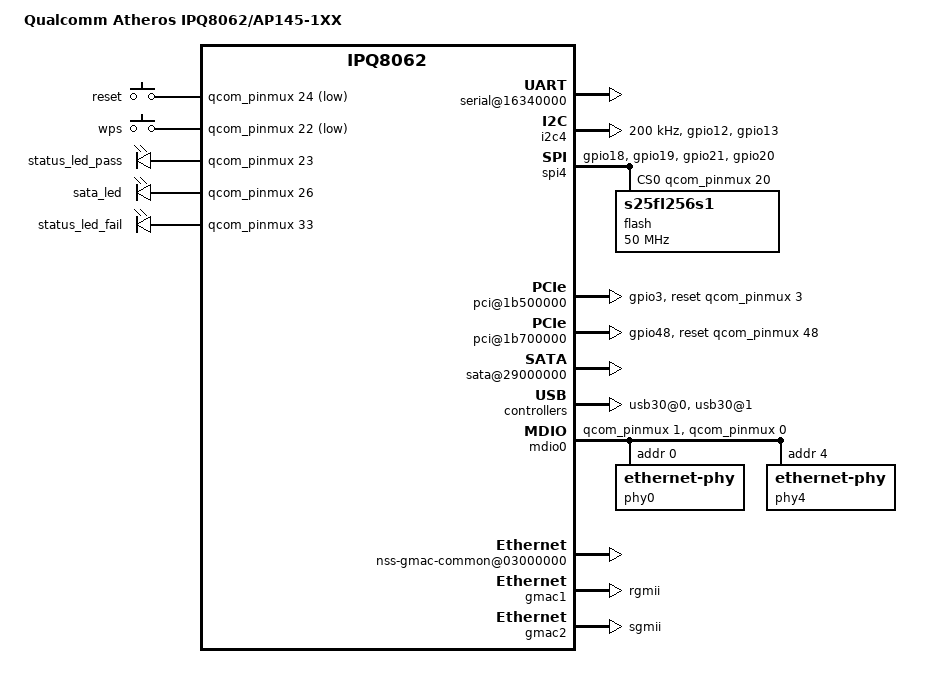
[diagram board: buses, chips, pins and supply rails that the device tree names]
/* Copyright (c) 2015, The Linux Foundation. All rights reserved.
 *
 * Permission to use, copy, modify, and/or distribute this software for any
 * purpose with or without fee is hereby granted, provided that the above
 * copyright notice and this permission notice appear in all copies.
 *
 * THE SOFTWARE IS PROVIDED "AS IS" AND THE AUTHOR DISCLAIMS ALL WARRANTIES
 * WITH REGARD TO THIS SOFTWARE INCLUDING ALL IMPLIED WARRANTIES OF
 * MERCHANTABILITY AND FITNESS. IN NO EVENT SHALL THE AUTHOR BE LIABLE FOR
 * ANY SPECIAL, DIRECT, INDIRECT, OR CONSEQUENTIAL DAMAGES OR ANY DAMAGES
 * WHATSOEVER RESULTING FROM LOSS OF USE, DATA OR PROFITS, WHETHER IN AN
 * ACTION OF CONTRACT, NEGLIGENCE OR OTHER TORTIOUS ACTION, ARISING OUT OF
 * OR IN CONNECTION WITH THE USE OR PERFORMANCE OF THIS SOFTWARE.
 *
 */

#include <dt-bindings/interrupt-controller/arm-gic.h>
#include <dt-bindings/interrupt-controller/irq.h>
#include <dt-bindings/input/input.h>
#include <dt-bindings/gpio/gpio.h>

/ {
	model = "Qualcomm Atheros IPQ8062/AP145-1XX";
	compatible = "qcom,ipq8062-ap145_1xx", "qcom,ipq8062";

	reserved-memory {
		#address-cells = <1>;
		#size-cells = <1>;
		ranges;
		rsvd@41200000 {
			reg = <0x41200000 0x300000>;
			no-map;
		};
	};
	cpus {
		#address-cells = <1>;
		#size-cells = <0>;

		cpu@0 {
			compatible = "qcom,krait";
			enable-method = "qcom,kpss-acc-v1";
			device_type = "cpu";

			operating-points-0-0 = <
				/* kHz      uV */
				1000000 1100000
				800000  1050000
				600000  1000000
				384000  950000
			>;
			operating-points-0-1 = <
				/* kHz      uV */
				1000000 1050000
				800000  1000000
				600000  950000
				384000  900000
			>;
			operating-points-0-2 = <
				/* kHz      uV */
				1000000 1000000
				800000  950000
				600000  900000
				384000  850000
			>;
			operating-points-0-3 = <
				/* kHz      uV */
				1000000  950000
				800000   900000
				600000   850000
				384000   800000
			>;

			clock-latency = <100000>;
			voltage-tolerance = <5>;

			cooling-min-state = <0>;
			cooling-max-state = <10>;
			#cooling-cells = <2>;
		};

		cpu@1 {
			compatible = "qcom,krait";
			enable-method = "qcom,kpss-acc-v1";
			device_type = "cpu";
			reg = <1>;
			qcom,acc = <&acc1>;
			qcom,saw = <&saw1>;
			core-supply = <&smb208_s2b>;
			clocks = <&kraitcc 1>;
			clock-names = "cpu";

			operating-points-0-0 = <
				/* kHz      uV */
				1000000 1100000
				800000  1050000
				600000  1000000
				384000  950000
			>;
			operating-points-0-1 = <
				/* kHz      uV */
				1000000 1050000
				800000  1000000
				600000  950000
				384000  900000
			>;
			operating-points-0-2 = <
				/* kHz      uV */
				1000000 1000000
				800000  950000
				600000  900000
				384000  850000
			>;
			operating-points-0-3 = <
				/* kHz      uV */
				1000000  950000
				800000   900000
				600000   850000
				384000   800000
			>;

			clock-latency = <100000>;

			cooling-min-state = <0>;
			cooling-max-state = <10>;
			#cooling-cells = <2>;
		};

		L2: l2-cache {
			compatible = "cache";
			cache-level = <2>;
			clocks = <&kraitcc 4>;
			clock-names = "cache";
			vdd_dig-supply = <&smb208_s1a>;
			cache-points-kHz = <
				/* kHz    uV    CPU kHz */
				1000000 1100000  600000
				384000  1100000  384000
			>;
		};

	};

	aliases {
                mdio-gpio0 = &mdio0;
                /*
                 * U-Boot searches for these entries and patches
                 * 'local-mac-address'
                 */
                ethernet0 = &gmac1;
                ethernet1 = &gmac2;
        };

	soc {

		pinmux@800000 {
			pinctrl-0 = <&rgmii2_pins_default>;
			pinctrl-names = "default";

			sdcc1_pins: sdcc1_pinmux {
				mux {
					pins = "gpio38", "gpio39", "gpio40",
					"gpio41", "gpio42", "gpio43",
					"gpio44", "gpio45", "gpio46",
					"gpio47";
					function = "sdc1";
				};
				cmd {
					pins = "gpio45";
					drive-strength = <10>;
					bias-pull-up;
				};
				data {
					pins = "gpio38", "gpio39", "gpio40",
					"gpio41", "gpio43", "gpio44",
					"gpio46", "gpio47";
					drive-strength = <10>;
					bias-pull-up;
				};
				clk {
					pins = "gpio42";
					drive-strength = <16>;
					bias-pull-down;
				};
			};

			i2c4_pins: i2c4_pinmux {
				pins = "gpio12", "gpio13";
				function = "gsbi4";
				bias-disable;
			};

			pcie1_pins: pcie1_pinmux {
				mux {
					pins = "gpio3";
					drive-strength = <2>;
					bias-disable;
				};
			};

			pcie2_pins: pcie2_pinmux {
				mux {
					pins = "gpio48";
					drive-strength = <2>;
					bias-disable;
				};
			};

			nss_spi_pins: nss_spi_pins {
				mux {
					pins = "gpio14", "gpio15", "gpio16", "gpio17",
						"gpio55", "gpio56", "gpio57", "gpio58";
					function = "nss_spi";
					drive-strengh = <10>;
				};
				data {
					pins = "gpio14", "gpio15", "gpio55", "gpio56";
					bias-none;
				};
				cs {
					pins = "gpio16", "gpio17", "gpio57", "gpio58";
					bias-pull-up;
				};
                        };

			spi_pins: spi_pins {
				mux {
					pins = "gpio18", "gpio19", "gpio21";
					function = "gsbi5";
					drive-strength = <10>;
					bias-none;
				};
				cs {
					pins = "gpio20";
					drive-strength = <12>;
				};
			};
			nand_pins: nand_pins {
				mux {
					pins = "gpio34", "gpio35", "gpio36",
						"gpio37", "gpio38", "gpio39",
						"gpio40", "gpio41", "gpio42",
						"gpio43", "gpio44", "gpio45",
						"gpio46", "gpio47";
					function = "nand";
					drive-strength = <10>;
					bias-disable;
				};
				pullups {
					pins = "gpio39";
					bias-pull-up;
				};
				hold {
					pins = "gpio40", "gpio41", "gpio42",
						"gpio43", "gpio44", "gpio45",
						"gpio46", "gpio47";
					bias-bus-hold;
				};
			};

			rgmii2_pins_default: rgmii2_pins_default {
				mux {
					pins = "gpio27", "gpio28", "gpio29", "gpio30", "gpio31", "gpio32",
					       "gpio51", "gpio52", "gpio59", "gpio60", "gpio61", "gpio62" ;
					function = "rgmii2";
					drive-strength = <8>;
					bias-disable;
				};
			};

			leds_pins: leds_pins {
				mux {
					pins = "gpio23", "gpio26", "gpio33";
					function = "gpio";
					drive-strength = <2>;
					bias-pull-down;
					output-low;
				};
			};
		};

		gsbi@16300000 {
			qcom,mode = <GSBI_PROT_I2C_UART>;
			status = "ok";
			serial@16340000 {
				status = "ok";
			};

			i2c4: i2c@16380000 {
				status = "ok";

				clock-frequency = <200000>;

				pinctrl-0 = <&i2c4_pins>;
				pinctrl-names = "default";
			};
		};

		gsbi5: gsbi@1a200000 {
			qcom,mode = <GSBI_PROT_SPI>;
			status = "ok";

			spi4: spi@1a280000 {
				status = "ok";
				spi-max-frequency = <50000000>;

				pinctrl-0 = <&spi_pins>;
				pinctrl-names = "default";

				cs-gpios = <&qcom_pinmux 20 0>;

				dmas = <&adm_dma 6 9>,
					<&adm_dma 5 10>;
				dma-names = "rx", "tx";

				flash: m25p80@0 {
					compatible = "s25fl256s1";
					#address-cells = <1>;
					#size-cells = <1>;
					spi-max-frequency = <50000000>;
					reg = <0>;
					m25p,fast-read;
				};
			};
		};

		sata-phy@1b400000 {
			status = "ok";
		};

		pci@1b500000 {
			status = "ok";
			reset-gpio = <&qcom_pinmux 3 0>;
			pinctrl-0 = <&pcie1_pins>;
			pinctrl-names = "default";

			ranges = <0x00000000 0 0x00000000 0x0ff00000 0 0x00100000   /* configuration space */
				  0x81000000 0 0	  0x0fe00000 0 0x00100000   /* downstream I/O */
				  0x82000000 0 0x00000000 0x08000000 0 0x07e00000>; /* non-prefetchable memory */
		};

		pci@1b700000 {
			status = "ok";
			reset-gpio = <&qcom_pinmux 48 0>;
			pinctrl-0 = <&pcie2_pins>;
			pinctrl-names = "default";

			ranges = <0x00000000 0 0x00000000 0x31f00000 0 0x00100000   /* configuration space */
				  0x81000000 0 0	  0x31e00000 0 0x00100000   /* downstream I/O */
				  0x82000000 0 0x00000000 0x2e000000 0 0x03e00000>; /* non-prefetchable memory */

		};

		sata@29000000 {
			status = "ok";
		};

		dma@18300000 {
			status = "ok";
		};

		tcsr@1a400000 {
			status = "ok";
		};

		phy@100f8800 {		/* USB3 port 1 HS phy */
			status = "ok";
		};

		phy@100f8830 {		/* USB3 port 1 SS phy */
			status = "ok";
		};

		phy@110f8800 {		/* USB3 port 0 HS phy */
			status = "ok";
		};

		phy@110f8830 {		/* USB3 port 0 SS phy */
			status = "ok";
		};

		usb30@0 {
			status = "ok";
			dwc3@11000000 {
				usb3_dev_reset_quirk;
			};
		};

		usb30@1 {
			status = "ok";
			dwc3@10000000 {
				usb3_dev_reset_quirk;
			};
		};

		gpio_keys {
			compatible = "gpio-keys";

			button@1 {
				label = "reset";
				linux,code = <KEY_RESTART>;
				gpios = <&qcom_pinmux 24 GPIO_ACTIVE_LOW>;
				linux,input-type = <1>;
				debounce-interval = <60>;
			};
			button@2 {
				label = "wps";
				linux,code = <KEY_WPS_BUTTON>;
				gpios = <&qcom_pinmux 22 GPIO_ACTIVE_LOW>;
				linux,input-type = <1>;
				debounce-interval = <60>;
			};
		};

		leds {
			compatible = "gpio-leds";
			pinctrl-0 = <&leds_pins>;
			pinctrl-names = "default";

			led@23 {
				label = "status_led_pass";
				gpios = <&qcom_pinmux 23 GPIO_ACTIVE_HIGH>;
				default-state = "off";
			};

			led@26 {
				label = "sata_led";
				gpios = <&qcom_pinmux 26 GPIO_ACTIVE_HIGH>;
				default-state = "off";
			};

			led@33 {
				label = "status_led_fail";
				gpios = <&qcom_pinmux 33 GPIO_ACTIVE_HIGH>;
				default-state = "off";
			};
		};

		mdio0: mdio {
                        compatible = "virtual,mdio-gpio";
                        #address-cells = <1>;
                        #size-cells = <0>;
                        gpios = <&qcom_pinmux 1 0 &qcom_pinmux 0 0>;

                        phy0: ethernet-phy@0 {
                                device_type = "ethernet-phy";
                                reg = <0>;
                                qca,ar8327-initvals = <
                                        0x00004 0x7600000   /* PAD0_MODE */
                                        0x00008 0x1000000   /* PAD5_MODE */
                                        0x0000c 0x80        /* PAD6_MODE */
                                        0x000e4 0xaa545     /* MAC_POWER_SEL */
                                        0x000e0 0xc74164de  /* SGMII_CTRL */
                                        0x0007c 0x4e        /* PORT0_STATUS */
                                        0x00094 0x4e        /* PORT6_STATUS */
                                >;
                        };

                        phy4: ethernet-phy@4 {
                                device_type = "ethernet-phy";
                                reg = <4>;
                        };
                };

		amba {
			/* eMMC */
			sdcc1: sdcc@12400000 {
				status = "ok";
				pinctrl-0 = <&sdcc1_pins>;
				pinctrl-names = "default";
			};
		};

		nss0: nss@40000000 {
			compatible = "qcom,nss";
			pinctrl-0 = <&nss_spi_pins>;
			pinctrl-names = "default";
			interrupts = <GIC_SPI 213 IRQ_TYPE_LEVEL_HIGH>,
				     <GIC_SPI 232 IRQ_TYPE_LEVEL_HIGH>;
			reg = <0x36000000 0x1000 0x39000000 0x10000>;
			reg-names = "nphys", "vphys";
			clocks = <&gcc NSS_CORE_CLK>, <&gcc NSSTCM_CLK_SRC>,
				 <&gcc NSSTCM_CLK>, <&nss_fabric0_clk>,
				 <&nss_fabric1_clk>;
			clock-names = "nss-core-clk", "nss-tcm-src",
				      "nss-tcm-clk", "nss-fab0-clk",
				      "nss-fab1-clk";
			resets = <&gcc UBI32_CORE1_CLKRST_CLAMP_RESET>,
				 <&gcc UBI32_CORE1_CLAMP_RESET>,
				 <&gcc UBI32_CORE1_AHB_RESET>,
				 <&gcc UBI32_CORE1_AXI_RESET>;
			reset-names = "clkrst-clamp", "clamp", "ahb", "axi";

			qcom,id = <0>;
			qcom,num-irq = <2>;
			qcom,num-queue = <2>;
			qcom,load-addr = <0x40000000>;

			qcom,low-frequency = <110000000>;
			qcom,mid-frequency = <275000000>;
			qcom,max-frequency = <550000000>;

			qcom,ipv4-enabled;
			qcom,ipv6-enabled;
			qcom,l2tpv2-enabled;
			qcom,gre-enabled;
			qcom,portid-enabled;
			qcom,pppoe-enabled;
			qcom,pptp-enabled;
			qcom,shaping-enabled;
			qcom,tun6rd-enabled;
			qcom,tunipip6-enabled;
			qcom,wlanredirect-enabled;
			qcom,wlan-dataplane-offload-enabled;
		};

		nss1: nss@40800000 {
			compatible = "qcom,nss";
			interrupts = <GIC_SPI 214 IRQ_TYPE_LEVEL_HIGH>,
				     <GIC_SPI 233 IRQ_TYPE_LEVEL_HIGH>;
			reg = <0x36400000 0x1000 0x39010000 0x10000>;
			reg-names = "nphys", "vphys";
			resets = <&gcc UBI32_CORE2_CLKRST_CLAMP_RESET>,
				 <&gcc UBI32_CORE2_CLAMP_RESET>,
				 <&gcc UBI32_CORE2_AHB_RESET>,
				 <&gcc UBI32_CORE2_AXI_RESET>;
			reset-names = "clkrst-clamp", "clamp", "ahb", "axi";

			qcom,id = <1>;
			qcom,num-irq = <2>;
			qcom,num-queue = <2>;
			qcom,load-addr = <0x40800000>;

			qcom,low-frequency = <110000000>;
			qcom,mid-frequency = <275000000>;
			qcom,max-frequency = <550000000>;

			qcom,capwap-enabled;
			qcom,crypto-enabled;
			qcom,dtls-enabled;
			qcom,ipsec-enabled;
		};

		nss-gmac-common@03000000 {
			compatible = "qcom,nss-gmac-common";
			reg = <0x03000000 0x0000FFFF 0x1bb00000 0x0000FFFF 0x00900000 0x00004000>;
			reg-names = "nss_reg_base" , "qsgmii_reg_base", "clk_ctl_base";
		};

		gmac1: ethernet@37200000 {
			device_type = "network";
			compatible = "qcom,nss-gmac";
			reg = <0x37200000 0x200000>;
			interrupts = <GIC_SPI 223 IRQ_TYPE_LEVEL_HIGH>;
			phy-mode = "rgmii";
			qcom,id = <1>;
			qcom,pcs-chanid = <0>;
			qcom,phy-mdio-addr = <4>;
			qcom,poll-required = <1>;
			qcom,rgmii-delay = <1>;
			qcom,forced-speed = <1000>;
			qcom,forced-duplex = <1>;
			qcom,socver = <0>;
			local-mac-address = [000000000000];
			mdiobus = <&mdio0>;
		};

		gmac2: ethernet@37400000 {
			device_type = "network";
			compatible = "qcom,nss-gmac";
			reg = <0x37400000 0x200000>;
			interrupts = <GIC_SPI 226 IRQ_TYPE_LEVEL_HIGH>;
			phy-mode = "sgmii";
			qcom,id = <2>;
			qcom,pcs-chanid = <1>;
			qcom,phy-mdio-addr = <0>;
			qcom,poll-required = <0>;
			qcom,rgmii-delay = <0>;
			qcom,forced-speed = <1000>;
			qcom,forced-duplex = <1>;
			qcom,socver = <0>;
			local-mac-address = [000000000000];
			mdiobus = <&mdio0>;
		};

		crypto1: crypto@38000000 {
			compatible = "qcom,nss-crypto";
			reg-names = "crypto_pbase", "bam_base";
			reg = <0x38000000 0x20000>,
			    <0x38004000 0x22000>;
                        resets = <&gcc CRYPTO_ENG1_RESET>,
                                 <&gcc CRYPTO_AHB_RESET>;
                        reset-names = "rst_eng", "rst_ahb";
			clocks = <&gcc CE5_CORE_CLK>, <&gcc CE5_A_CLK>, <&gcc CE5_H_CLK>;
			clock-names = "ce5_core", "ce5_aclk", "ce5_hclk";
			qcom,ee = <0>;
		};

		crypto2: crypto@38400000 {
			compatible = "qcom,nss-crypto";
			reg-names = "crypto_pbase", "bam_base";
			reg = <0x38400000 0x20000>,
			    <0x38404000 0x22000>;
                        resets = <&gcc CRYPTO_ENG2_RESET>;
                        reset-names = "rst_eng";
			qcom,ee = <0>;
		};

		crypto3: crypto@38800000 {
			compatible = "qcom,nss-crypto";
			reg-names = "crypto_pbase", "bam_base";
			reg = <0x38800000 0x20000>,
			    <0x38804000 0x22000>;
                        resets = <&gcc CRYPTO_ENG3_RESET>;
                        reset-names = "rst_eng";
			qcom,ee = <0>;
		};

		crypto4: crypto@38C00000 {
			compatible = "qcom,nss-crypto";
			reg-names = "crypto_pbase", "bam_base";
			reg = <0x38C00000 0x20000>,
			    <0x38C04000 0x22000>;
                        resets = <&gcc CRYPTO_ENG4_RESET>;
                        reset-names = "rst_eng";
			qcom,ee = <0>;
		};
	};
};
